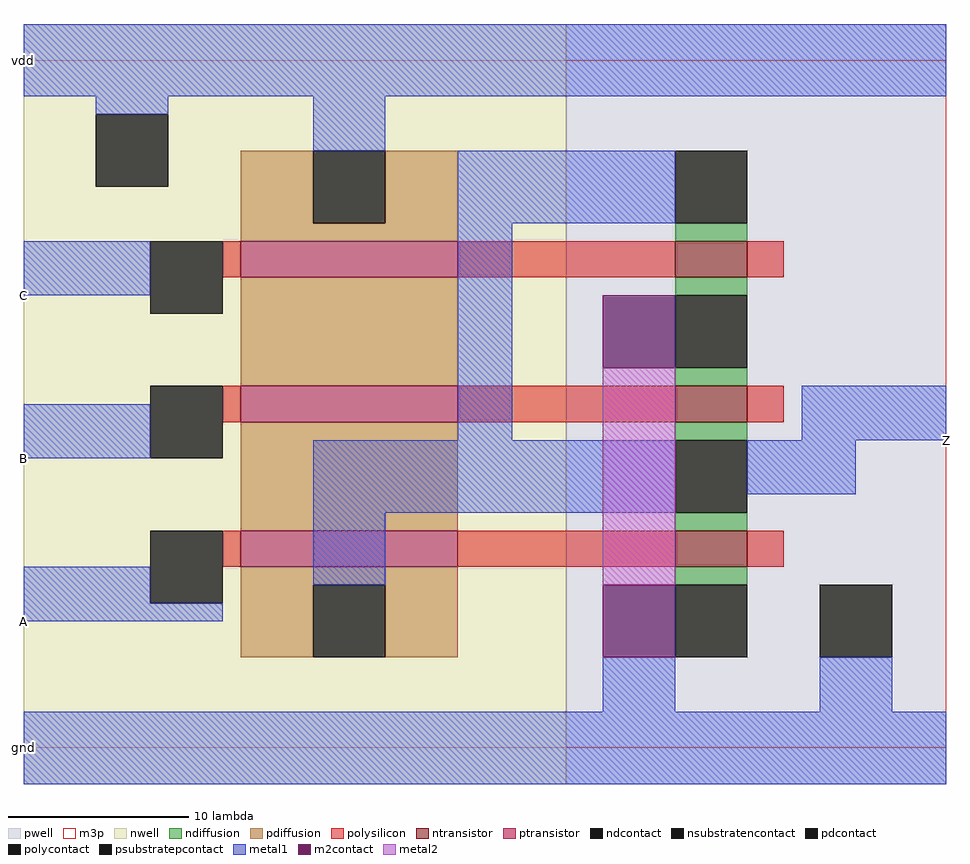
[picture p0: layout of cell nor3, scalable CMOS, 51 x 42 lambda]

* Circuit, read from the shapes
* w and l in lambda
.subckt nor3 A B C Z gnd vdd
M1 Z A gnd gnd nfet w=4 l=2
M2 gnd B Z gnd nfet w=4 l=2
M3 Z C gnd gnd nfet w=4 l=2
M4 n1 A Z vdd pfet w=12 l=2
M5 n2 B n1 vdd pfet w=12 l=2
M6 vdd C n2 vdd pfet w=12 l=2
.ends

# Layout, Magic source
magic
tech scmos
<< nwell >>
rect 0 -2 30 40
<< pwell >>
rect 30 -2 51 40
<< ntransistor >>
rect 36 26 40 28
rect 36 18 40 20
rect 36 10 40 12
<< ptransistor >>
rect 12 26 24 28
rect 12 18 24 20
rect 12 10 24 12
<< ndiffusion >>
rect 36 28 40 29
rect 36 25 40 26
rect 36 20 40 21
rect 36 17 40 18
rect 36 12 40 13
rect 36 9 40 10
<< pdiffusion >>
rect 12 29 16 33
rect 20 29 24 33
rect 12 28 24 29
rect 12 20 24 26
rect 12 12 24 18
rect 12 9 24 10
rect 12 5 16 9
rect 20 5 24 9
<< ndcontact >>
rect 36 29 40 33
rect 36 21 40 25
rect 36 13 40 17
rect 36 5 40 9
<< pdcontact >>
rect 16 29 20 33
rect 16 5 20 9
<< psubstratepcontact >>
rect 44 5 48 9
<< nsubstratencontact >>
rect 4 31 8 35
<< polysilicon >>
rect 11 26 12 28
rect 24 26 36 28
rect 40 26 42 28
rect 11 18 12 20
rect 24 18 36 20
rect 40 18 42 20
rect 11 10 12 12
rect 24 10 36 12
rect 40 10 42 12
<< polycontact >>
rect 7 24 11 28
rect 7 16 11 20
rect 7 8 11 12
<< metal1 >>
rect 0 36 51 40
rect 4 35 8 36
rect 16 33 20 36
rect 24 29 36 33
rect 0 25 7 28
rect 0 16 7 19
rect 24 17 27 29
rect 43 17 51 20
rect 16 13 36 17
rect 40 14 46 17
rect 0 8 7 10
rect 0 7 11 8
rect 16 9 20 13
rect 32 2 36 5
rect 44 2 48 5
rect 0 -2 51 2
<< m2contact >>
rect 32 21 36 25
rect 32 5 36 9
<< metal2 >>
rect 32 9 36 21
<< m3p >>
rect 0 0 51 38
<< labels >>
rlabel metal1 0 0 0 0 1 gnd
rlabel metal1 0 38 0 38 1 vdd
rlabel metal1 0 25 0 25 1 C
rlabel metal1 51 17 51 17 7 Z
rlabel metal1 0 16 0 16 1 B
rlabel metal1 0 7 0 7 1 A
<< end >>
